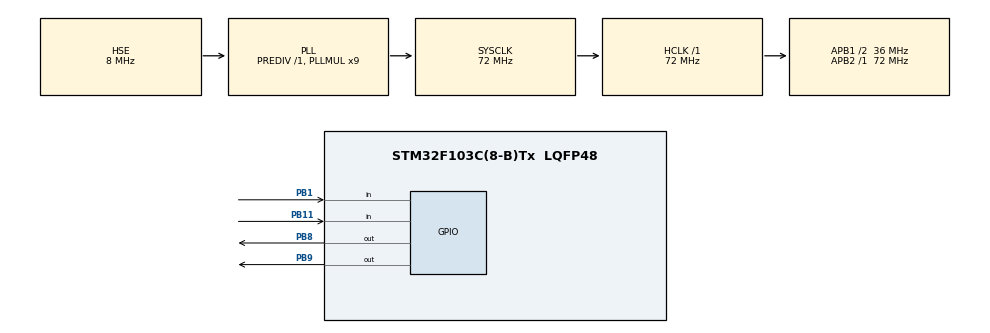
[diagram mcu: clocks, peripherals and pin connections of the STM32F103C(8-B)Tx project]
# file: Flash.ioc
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Mcu.Family=STM32F1
Mcu.Name=STM32F103C(8-B)Tx
Mcu.Package=LQFP48
NVIC.PriorityGroup=NVIC_PRIORITYGROUP_4
PA13.Mode=Serial_Wire
PA13.Signal=SYS_JTMS-SWDIO
PA14.Mode=Serial_Wire
PA14.Signal=SYS_JTCK-SWCLK
PB1.GPIO_PuPd=GPIO_PULLUP
PB1.Signal=GPIO_Input
PB11.GPIO_PuPd=GPIO_PULLUP
PB11.Signal=GPIO_Input
PB8.GPIO_ModeDefaultOutputPP=GPIO_MODE_OUTPUT_OD
PB8.GPIO_PuPd=GPIO_NOPULL
PB8.Signal=GPIO_Output
PB9.GPIO_ModeDefaultOutputPP=GPIO_MODE_OUTPUT_OD
PB9.GPIO_PuPd=GPIO_NOPULL
PB9.Signal=GPIO_Output
PD0-OSC_IN.Mode=HSE-External-Oscillator
PD0-OSC_IN.Signal=RCC_OSC_IN
PD1-OSC_OUT.Mode=HSE-External-Oscillator
PD1-OSC_OUT.Signal=RCC_OSC_OUT
ProjectManager.HeapSize=0x200
ProjectManager.StackSize=0x400
ProjectManager.TargetToolchain=STM32CubeIDE
RCC.AHBFreq_Value=72000000
RCC.APB1CLKDivider=RCC_HCLK_DIV2
RCC.APB1Freq_Value=36000000
RCC.APB1TimFreq_Value=72000000
RCC.APB2Freq_Value=72000000
RCC.APB2TimFreq_Value=72000000
RCC.HCLKFreq_Value=72000000
RCC.PLLMUL=RCC_PLL_MUL9
RCC.PLLSourceVirtual=RCC_PLLSOURCE_HSE
RCC.SYSCLKFreq_VALUE=72000000
RCC.SYSCLKSource=RCC_SYSCLKSOURCE_PLLCLK
RCC.USBFreq_Value=72000000
board=custom

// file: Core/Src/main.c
/* USER CODE BEGIN Header */
/**
  ******************************************************************************
  * @file           : main.c
  * @brief          : Main program body
  ******************************************************************************
  * @attention
  *
  * Copyright (c) 2026 STMicroelectronics.
  * All rights reserved.
  *
  * This software is licensed under terms that can be found in the LICENSE file
  * in the root directory of this software component.
  * If no LICENSE file comes with this software, it is provided AS-IS.
  *
  ******************************************************************************
  */
/* USER CODE END Header */
#include "main.h"
#include "gpio.h"

/* USER CODE BEGIN Includes */
#include "OLED.h"
#include "Store.h"
#include "Key.h"
/* USER CODE END Includes */

void SystemClock_Config(void);

int main(void)
{

  /* MCU Configuration--------------------------------------------------------*/

  /* Reset of all peripherals, Initializes the Flash interface and the Systick. */
  HAL_Init();

  /* Configure the system clock */
  SystemClock_Config();

  /* Initialize all configured peripherals */
  MX_GPIO_Init();
  /* USER CODE BEGIN 2 */
  OLED_Init();
  Store_Init();

  /* USER CODE END 2 */

  /* Infinite loop */
  /* USER CODE BEGIN WHILE */
  while (1)
  {
	  uint8_t Key=Get_KeyNum();
	  if(Key==1)
	  {
	  Store_Data[1]+=1;
	  Store_Data[2]+=2;
	  Store_Data[3]+=3;

	  Store_Save();

	  }

	  else if(Key==2)
	  {
		  Store_Clear();
	  }

	  OLED_ShowHexNum(1, 1, Store_Data[1], 4);
	  OLED_ShowHexNum(1, 6, Store_Data[2], 4);
	  OLED_ShowHexNum(1, 11, Store_Data[3], 4);

	  OLED_ShowHexNum(2, 1, MyFlash_ReadHalfWord(0x0800FC02), 4);
	  OLED_ShowHexNum(2, 6, MyFlash_ReadHalfWord(0x0800FC04), 4);
	  OLED_ShowHexNum(2, 11, MyFlash_ReadHalfWord(0x0800FC06), 4);
    /* USER CODE END WHILE */

  }
}

void SystemClock_Config(void)
{
  RCC_OscInitTypeDef RCC_OscInitStruct = {0};
  RCC_ClkInitTypeDef RCC_ClkInitStruct = {0};

  /** Initializes the RCC Oscillators according to the specified parameters
  * in the RCC_OscInitTypeDef structure.
  */
  RCC_OscInitStruct.OscillatorType = RCC_OSCILLATORTYPE_HSE;
  RCC_OscInitStruct.HSEState = RCC_HSE_ON;
  RCC_OscInitStruct.HSEPredivValue = RCC_HSE_PREDIV_DIV1;
  RCC_OscInitStruct.HSIState = RCC_HSI_ON;
  RCC_OscInitStruct.PLL.PLLState = RCC_PLL_ON;
  RCC_OscInitStruct.PLL.PLLSource = RCC_PLLSOURCE_HSE;
  RCC_OscInitStruct.PLL.PLLMUL = RCC_PLL_MUL9;
  if (HAL_RCC_OscConfig(&RCC_OscInitStruct) != HAL_OK)
  {
    Error_Handler();
  }

  /** Initializes the CPU, AHB and APB buses clocks
  */
  RCC_ClkInitStruct.ClockType = RCC_CLOCKTYPE_HCLK|RCC_CLOCKTYPE_SYSCLK
                              |RCC_CLOCKTYPE_PCLK1|RCC_CLOCKTYPE_PCLK2;
  RCC_ClkInitStruct.SYSCLKSource = RCC_SYSCLKSOURCE_PLLCLK;
  RCC_ClkInitStruct.AHBCLKDivider = RCC_SYSCLK_DIV1;
  RCC_ClkInitStruct.APB1CLKDivider = RCC_HCLK_DIV2;
  RCC_ClkInitStruct.APB2CLKDivider = RCC_HCLK_DIV1;

  if (HAL_RCC_ClockConfig(&RCC_ClkInitStruct, FLASH_LATENCY_2) != HAL_OK)
  {
    Error_Handler();
  }
}

void Error_Handler(void)
{
  __disable_irq();
  while (1)
  {
  }
}
